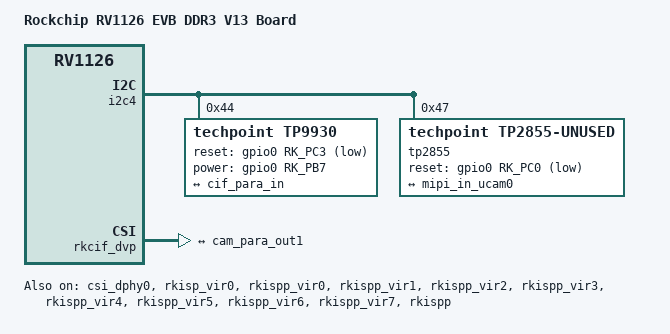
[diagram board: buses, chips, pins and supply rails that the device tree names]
// SPDX-License-Identifier: (GPL-2.0+ OR MIT)
/*
 * Copyright (c) 2020 Rockchip Electronics Co., Ltd.
 */
/dts-v1/;
#include "rv1126_02r.dtsi"
#include "rv1126-evb-v13.dtsi"
/ {
	model = "Rockchip RV1126 EVB DDR3 V13 Board";
	compatible = "rockchip,rv1126-evb-ddr3-v13", "rockchip,rv1126";

	chosen {
		bootargs = "earlycon=uart8250,mmio32,0xff570000 console=ttyFIQ0 root=PARTUUID=614e0000-0000 rootfstype=ext4 rootwait snd_aloop.index=7 coherent_pool=2M hw_ver=v000000";
	};

	techpoint_sound: techpoint-sound {
		compatible = "simple-audio-card";
		simple-audio-card,format = "dsp_b";  
		simple-audio-card,name = "rockchip,techpoint-sound";
		simple-audio-card,bitclock-master = <&sound_codec>;
		simple-audio-card,frame-master = <&sound_codec>;
		simple-audio-card,mclk-fs = <256>;
		sound_cpu: simple-audio-card,cpu {
			sound-dai = <&i2s0_8ch>;
			dai-tdm-slot-num = <8>;
			dai-tdm-slot-width = <16>;
		};
		sound_codec: simple-audio-card,codec {
			sound-dai = <&tp9930>;
		};
	};
};

#if 1 //TP9930_TP2855_ISP

&i2c1 {
	status = "disabled";
	/delete-node/ ar0230@10;
	/delete-node/ ov4689@36;
	/delete-node/ os04a10@36;
};

&i2c4 {
	tp9930: tp9930@44 {   
		compatible = "techpoint,tp9930";
		reg = <0x44>;
		#sound-dai-cells = <0>;
		clocks = <&cru CLK_MIPICSI_OUT>;
		clock-names = "xvclk";
		//avdd-supply = <&vcc_avdd>;
		//dovdd-supply = <&vcc_dovdd>;
		//dvdd-supply = <&vcc_dvdd>;
		power-domains = <&power RV1126_PD_VI>;
		pinctrl-names = "rockchip,camera_default";
		pinctrl-0 = <&mipicsi_clk0 &cifm0_bt1120_ctl>;
		rockchip,grf = <&grf>;
		reset-gpios = <&gpio0 RK_PC3 GPIO_ACTIVE_LOW>; 
		power-gpios = <&gpio0 RK_PB7 GPIO_ACTIVE_HIGH>;
		rockchip,camera-module-index = <0>;
		rockchip,camera-module-facing = "back";
		rockchip,camera-module-name = "default";
		rockchip,camera-module-lens-name = "default";
		
		/* audio */
		techpoint,audio-in-format = "i2s";
		techpoint,audio-in-mclk-fs = <256>;
		techpoint,audio-in-cascade-order = <0>;  /* no cascade */
		
		port {
			cam_para_out1: endpoint {
				remote-endpoint = <&cif_para_in>;
				bus-width = <16>;
				pclk-sample = <1>;
			};
		};
	};
		
	tp2855: tp2855@47 {
		compatible = "techpoint,tp2855-unused";
		reg = <0x47>;
		#sound-dai-cells = <0>;
		clocks = <&cru CLK_MIPICSI_OUT>;
		clock-names = "xvclk";
		//avdd-supply = <&vcc_avdd>;
		//dovdd-supply = <&vcc_dovdd>;
		//dvdd-supply = <&vcc_dvdd>;
		power-domains = <&power RV1126_PD_VI>;
		pinctrl-names = "rockchip,camera_default";
		pinctrl-0 = <&mipicsi_clk0>;
		reset-gpios = <&gpio0 RK_PC0 GPIO_ACTIVE_LOW>;
		//power-gpios = <&gpio0 RK_PB7 GPIO_ACTIVE_HIGH>;
		rockchip,camera-module-index = <0>;
		rockchip,camera-module-facing = "front";
		rockchip,camera-module-name = "tp2855";
		rockchip,camera-module-lens-name = "tp2855";

		/* audio */
		techpoint,audio-in-format = "i2s";
		techpoint,audio-in-mclk-fs = <256>;
		techpoint,audio-in-cascade-order = <1>;  /* the 1st chip */
		techpoint,audio-in-cascade-slaves = <&tp9930>;

		port {
			ucam_out0: endpoint {
				remote-endpoint = <&mipi_in_ucam0>;
				data-lanes = <1 2 3 4>;
			};
		};
	};
};

&rkcif_dvp {
	status = "okay";

	// rockchip,cif-monitor = <3 2 25 1000 5>;

	port {
		/* Parallel bus endpoint */
		cif_para_in: endpoint {
			remote-endpoint = <&cam_para_out1>;
			bus-width = <16>;
		};
	};
};

&rkcif_mmu {
	status = "disabled";
};

&csi_dphy0 {
	status = "okay";

	ports {
		#address-cells = <1>;
		#size-cells = <0>;
		port@0 {
			reg = <0>;
			#address-cells = <1>;
			#size-cells = <0>;

			mipi_in_ucam0: endpoint@1 {
				reg = <1>;
				remote-endpoint = <&ucam_out0>;
				data-lanes = <1 2 3 4>;
			};
		};
		port@1 {
			reg = <1>;
			#address-cells = <1>;
			#size-cells = <0>;

			csidphy0_out: endpoint@0 {
				reg = <0>;
				remote-endpoint = <&isp_in>;
			};
		};
	};
};

&csi_dphy1 {
	status = "disabled";
	/delete-node/ ports;
};

&mipi_csi2 {
	status = "disabled";
	/delete-node/ ports;
};

&rkcif_mipi_lvds {
	status = "disabled";
	/delete-node/ port;
};

&rkcif_mipi_lvds_sditf {
	status = "disabled";
	/delete-node/ port;
};

&rkisp_vir0 {
	status = "okay";
	/delete-node/ ports;

	ports {
		#address-cells = <1>;
		#size-cells = <0>;
		port@0 {
			reg = <0>;
			#address-cells = <1>;
			#size-cells = <0>;

			isp_in: endpoint@0 {
				reg = <0>;
				remote-endpoint = <&csidphy0_out>;
			};
		};
	};
};

&rkispp_vir0 {
	status = "disabled";
	/delete-node/ port;
};

&rkisp_vir1 {
	status = "disabled";
	/delete-node/ ports;
};

&rkispp_vir1 {
	status = "disabled";
	/delete-node/ port;
};

&pinctrl {
	cif {
		/omit-if-no-ref/
		cifm0_bt1120_ctl: cifm0_bt1120_ctl {
			rockchip,pins =
				/* cif_clkin_m0 */
				<3 RK_PC5 1 &pcfg_pull_none>,
				/* cif_clkout_m0 */
				<3 RK_PC6 1 &pcfg_pull_none>,
				/* cif_d0_m0 */
				<3 RK_PA4 1 &pcfg_pull_none>,
				/* cif_d10_m0 */
				<3 RK_PB6 1 &pcfg_pull_none>,
				/* cif_d11_m0 */
				<3 RK_PB7 1 &pcfg_pull_none>,
				/* cif_d12_m0 */
				<3 RK_PC0 1 &pcfg_pull_none>,
				/* cif_d13_m0 */
				<3 RK_PC1 1 &pcfg_pull_none>,
				/* cif_d14_m0 */
				<3 RK_PC2 1 &pcfg_pull_none>,
				/* cif_d15_m0 */
				<3 RK_PC3 1 &pcfg_pull_none>,
				/* cif_d1_m0 */
				<3 RK_PA5 1 &pcfg_pull_none>,
				/* cif_d2_m0 */
				<3 RK_PA6 1 &pcfg_pull_none>,
				/* cif_d3_m0 */
				<3 RK_PA7 1 &pcfg_pull_none>,
				/* cif_d4_m0 */
				<3 RK_PB0 1 &pcfg_pull_none>,
				/* cif_d5_m0 */
				<3 RK_PB1 1 &pcfg_pull_none>,
				/* cif_d6_m0 */
				<3 RK_PB2 1 &pcfg_pull_none>,
				/* cif_d7_m0 */
				<3 RK_PB3 1 &pcfg_pull_none>,
				/* cif_d8_m0 */
				<3 RK_PB4 1 &pcfg_pull_none>,
				/* cif_d9_m0 */
				<3 RK_PB5 1 &pcfg_pull_none>;
		};
	};
};

#endif

&rkispp_vir0 {
	status = "okay";
};

&rkispp_vir1 {
	status = "okay";
};

&rkispp_vir2 {
	status = "okay";
};

&rkispp_vir3 {
	status = "okay";
};

&rkispp_vir4 {
	status = "okay";
};

&rkispp_vir5 {
	status = "okay";
};

&rkispp_vir6 {
	status = "okay";
};

&rkispp_vir7 {
	status = "okay";
};
  
&rkispp {
	status = "okay";
	max-input = <1920 1080 25>;
};

//Add by caihz : 0420
&rkispp_mmu {
	status = "disabled";
};
//End Add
